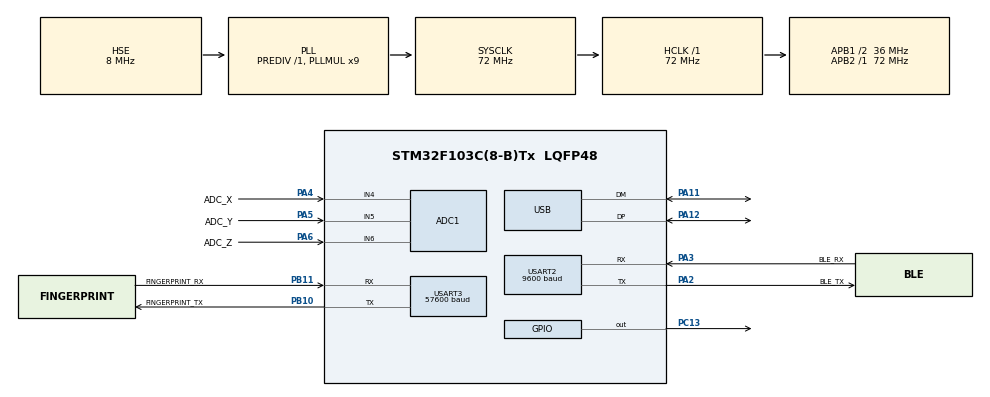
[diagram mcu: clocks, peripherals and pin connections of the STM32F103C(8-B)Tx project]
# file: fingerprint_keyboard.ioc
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ADC1.Channel-0\#ChannelRegularConversion=ADC_CHANNEL_4
ADC1.Channel-1\#ChannelRegularConversion=ADC_CHANNEL_5
ADC1.Channel-2\#ChannelRegularConversion=ADC_CHANNEL_6
ADC1.ContinuousConvMode=ENABLE
ADC1.NbrOfConversion=3
ADC1.NbrOfConversionFlag=1
ADC1.Rank-0\#ChannelRegularConversion=1
ADC1.Rank-1\#ChannelRegularConversion=2
ADC1.Rank-2\#ChannelRegularConversion=3
ADC1.SamplingTime-0\#ChannelRegularConversion=ADC_SAMPLETIME_55CYCLES_5
ADC1.SamplingTime-1\#ChannelRegularConversion=ADC_SAMPLETIME_55CYCLES_5
ADC1.SamplingTime-2\#ChannelRegularConversion=ADC_SAMPLETIME_55CYCLES_5
ADC1.master=1
Dma.ADC1.1.Direction=DMA_PERIPH_TO_MEMORY
Dma.ADC1.1.Instance=DMA1_Channel1
Dma.ADC1.1.MemDataAlignment=DMA_MDATAALIGN_WORD
Dma.ADC1.1.MemInc=DMA_MINC_ENABLE
Dma.ADC1.1.Mode=DMA_CIRCULAR
Dma.ADC1.1.PeriphDataAlignment=DMA_PDATAALIGN_WORD
Dma.ADC1.1.PeriphInc=DMA_PINC_DISABLE
Dma.ADC1.1.Priority=DMA_PRIORITY_MEDIUM
Dma.Request0=USART2_RX
Dma.Request1=ADC1
Dma.USART2_RX.0.Direction=DMA_PERIPH_TO_MEMORY
Dma.USART2_RX.0.Instance=DMA1_Channel6
Dma.USART2_RX.0.MemDataAlignment=DMA_MDATAALIGN_BYTE
Dma.USART2_RX.0.MemInc=DMA_MINC_ENABLE
Dma.USART2_RX.0.Mode=DMA_NORMAL
Dma.USART2_RX.0.PeriphDataAlignment=DMA_PDATAALIGN_BYTE
Dma.USART2_RX.0.PeriphInc=DMA_PINC_DISABLE
Dma.USART2_RX.0.Priority=DMA_PRIORITY_LOW
FREERTOS.Tasks01=defaultTask,24,128,StartDefaultTask,Default,NULL,Dynamic,NULL,NULL;commTask,24,128,StartCommTask,Default,NULL,Dynamic,NULL,NULL;readerTask,24,128,StartReaderTask,Default,NULL,Dynamic,NULL,NULL;sensorTask,24,128,StartSensorTask,Default,NULL,Dynamic,NULL,NULL
FREERTOS.configUSE_NEWLIB_REENTRANT=1
Mcu.Family=STM32F1
Mcu.Name=STM32F103C(8-B)Tx
Mcu.Package=LQFP48
NVIC.DMA1_Channel1_IRQn=true\:5\:0\:false\:false\:true\:true\:false\:true\:true
NVIC.DMA1_Channel6_IRQn=true\:5\:0\:false\:false\:true\:true\:false\:true\:true
NVIC.PriorityGroup=NVIC_PRIORITYGROUP_4
NVIC.TIM1_UP_IRQn=true\:15\:0\:false\:false\:true\:false\:false\:true\:true
NVIC.TimeBase=TIM1_UP_IRQn
NVIC.TimeBaseIP=TIM1
NVIC.USART2_IRQn=true\:5\:0\:false\:false\:true\:true\:true\:true\:true
NVIC.USART3_IRQn=true\:5\:0\:false\:false\:true\:true\:true\:true\:true
NVIC.USB_LP_CAN1_RX0_IRQn=true\:5\:0\:false\:false\:true\:true\:false\:true\:true
PA11.Mode=Device
PA11.Signal=USB_DM
PA12.Mode=Device
PA12.Signal=USB_DP
PA13.Mode=Serial_Wire
PA13.Signal=SYS_JTMS-SWDIO
PA14.Mode=Serial_Wire
PA14.Signal=SYS_JTCK-SWCLK
PA2.GPIO_Label=BLE_TX
PA2.Mode=Asynchronous
PA2.Signal=USART2_TX
PA3.GPIO_Label=BLE_RX
PA3.Mode=Asynchronous
PA3.Signal=USART2_RX
PA4.GPIO_Label=ADC_X
PA4.Signal=ADCx_IN4
PA5.GPIO_Label=ADC_Y
PA5.Signal=ADCx_IN5
PA6.GPIO_Label=ADC_Z
PA6.Signal=ADCx_IN6
PB10.GPIO_Label=FINGERPRINT_TX
PB10.Mode=Asynchronous
PB10.Signal=USART3_TX
PB11.GPIO_Label=FINGERPRINT_RX
PB11.Mode=Asynchronous
PB11.Signal=USART3_RX
PC13-TAMPER-RTC.Signal=GPIO_Output
PD0-OSC_IN.Mode=HSE-External-Oscillator
PD0-OSC_IN.Signal=RCC_OSC_IN
PD1-OSC_OUT.Mode=HSE-External-Oscillator
PD1-OSC_OUT.Signal=RCC_OSC_OUT
ProjectManager.HeapSize=0x200
ProjectManager.StackSize=0x400
ProjectManager.TargetToolchain=STM32CubeIDE
RCC.ADCPresc=RCC_ADCPCLK2_DIV6
RCC.AHBFreq_Value=72000000
RCC.APB1CLKDivider=RCC_HCLK_DIV2
RCC.APB1Freq_Value=36000000
RCC.APB1TimFreq_Value=72000000
RCC.APB2Freq_Value=72000000
RCC.APB2TimFreq_Value=72000000
RCC.HCLKFreq_Value=72000000
RCC.PLLMUL=RCC_PLL_MUL9
RCC.PLLSourceVirtual=RCC_PLLSOURCE_HSE
RCC.SYSCLKFreq_VALUE=72000000
RCC.SYSCLKSource=RCC_SYSCLKSOURCE_PLLCLK
RCC.USBFreq_Value=48000000
RCC.USBPrescaler=RCC_USBCLKSOURCE_PLL_DIV1_5
SH.ADCx_IN4.0=ADC1_IN4,IN4
SH.ADCx_IN5.0=ADC1_IN5,IN5
SH.ADCx_IN6.0=ADC1_IN6,IN6
USART2.BaudRate=9600
USART2.VirtualMode=VM_ASYNC
USART3.BaudRate=57600
USART3.VirtualMode=VM_ASYNC
USB_DEVICE.CLASS_NAME_FS=HID
USB_DEVICE.VirtualMode=Hid
USB_DEVICE.VirtualModeFS=Hid_FS
VP_FREERTOS_VS_CMSIS_V2.Mode=CMSIS_V2
VP_SYS_VS_tim1.Mode=TIM1
VP_USB_DEVICE_VS_USB_DEVICE_HID_FS.Mode=HID_FS
board=custom

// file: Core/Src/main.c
/* USER CODE BEGIN Header */
/**
  ******************************************************************************
  * @file           : main.c
  * @brief          : Main program body
  ******************************************************************************
  * @attention
  *
  * Copyright (c) 2025 STMicroelectronics.
  * All rights reserved.
  *
  * This software is licensed under terms that can be found in the LICENSE file
  * in the root directory of this software component.
  * If no LICENSE file comes with this software, it is provided AS-IS.
  *
  ******************************************************************************
  */
/* USER CODE END Header */
#include "main.h"
#include "cmsis_os.h"
#include "usb_device.h"

/* USER CODE BEGIN Includes */
#include "stm32f1xx_hal.h"
#include "usbd_hid.h"
#include <stdbool.h>
#include <string.h>
#include <stdio.h>
#include <stdint.h>
#include <math.h>
#include "fingerprint_lib.h"
#include "aes.h"
/* USER CODE END Includes */

/* USER CODE BEGIN PD */
#define RX_BUFFER_SIZE 64
#define TX_BUFFER_SIZE 64

#define FLASH_USER_START_ADDR  ((uint32_t)0x0801FC00)

//#define MAX_PWD_SIZE 48
//#define BLOCK_SIZE 8
//#define NUM_ROUNDS 32

#define ADC_MAX         4095.0f
#define V_REF           3.3f
#define ZERO_G_VOLTAGE  1.65f
#define SENSITIVITY     0.30f      // V/g for ADXL335
#define G_TO_MS2        9.80665f

//#define FLASH_PAGE_SIZE        ((uint16_t)0x400)   // 1KB on STM32F103
#define MAX_PWD_SIZE           64                  // adjust as needed
/* USER CODE END PD */

ADC_HandleTypeDef hadc1;
DMA_HandleTypeDef hdma_adc1;

UART_HandleTypeDef huart2;
UART_HandleTypeDef huart3;
DMA_HandleTypeDef hdma_usart2_rx;

/* Definitions for defaultTask */
osThreadId_t defaultTaskHandle;
const osThreadAttr_t defaultTask_attributes = {
  .name = "defaultTask",
  .stack_size = 128 * 4,
  .priority = (osPriority_t) osPriorityNormal,
};
/* Definitions for commTask */
osThreadId_t commTaskHandle;
const osThreadAttr_t commTask_attributes = {
  .name = "commTask",
  .stack_size = 128 * 4,
  .priority = (osPriority_t) osPriorityNormal,
};
/* Definitions for readerTask */
osThreadId_t readerTaskHandle;
const osThreadAttr_t readerTask_attributes = {
  .name = "readerTask",
  .stack_size = 128 * 4,
  .priority = (osPriority_t) osPriorityNormal,
};
/* Definitions for sensorTask */
osThreadId_t sensorTaskHandle;
const osThreadAttr_t sensorTask_attributes = {
  .name = "sensorTask",
  .stack_size = 128 * 4,
  .priority = (osPriority_t) osPriorityNormal,
};
/* USER CODE BEGIN PV */
uint8_t rxBuffer[RX_BUFFER_SIZE];
uint8_t txBuffer[TX_BUFFER_SIZE];

volatile uint16_t rxLen = 0;

char storedPassword[MAX_PWD_SIZE];

volatile bool keyboardFlag = false;
volatile bool enrollFlag = false;
volatile bool saveFlag = false;

extern USBD_HandleTypeDef hUsbDeviceFS;

static volatile uint32_t ADC_Buf[3];
static volatile uint32_t ADC_Values[3];
static float v_x = 0.0;
static float v_y = 0.0;
static float v_z = 0.0;
static float a_x_g = 0.0;
static float a_y_g = 0.0;
static float a_z_g = 0.0;
static float a_x = 0.0;
static float a_y = 0.0;
static float a_z = 0.0;
static float a_mag = 0.0;

static volatile uint32_t acc_timestamp = 0;

/* USER CODE END PV */

void SystemClock_Config(void);
static void MX_GPIO_Init(void);
static void MX_DMA_Init(void);
static void MX_USART2_UART_Init(void);
static void MX_USART3_UART_Init(void);
static void MX_ADC1_Init(void);
void StartDefaultTask(void *argument);
void StartCommTask(void *argument);
void StartReaderTask(void *argument);
void StartSensorTask(void *argument);

/* USER CODE BEGIN 0 */
void HAL_ADC_ConvCpltCallback(ADC_HandleTypeDef* hadc){

  if(hadc->Instance==ADC1){
    ADC_Values[0] = ADC_Buf[0];
    ADC_Values[1] = ADC_Buf[1];
    ADC_Values[2] = ADC_Buf[2];
  }
}
/* USER CODE END 0 */

int main(void)
{

  /* MCU Configuration--------------------------------------------------------*/

  /* Reset of all peripherals, Initializes the Flash interface and the Systick. */
  HAL_Init();

  /* Configure the system clock */
  SystemClock_Config();

  /* Initialize all configured peripherals */
  MX_GPIO_Init();
  MX_DMA_Init();
  MX_USART2_UART_Init();
  MX_USART3_UART_Init();
  MX_ADC1_Init();
  /* USER CODE BEGIN 2 */
  HAL_UART_Receive_DMA(&huart2, rxBuffer, RX_BUFFER_SIZE);
  __HAL_UART_ENABLE_IT(&huart2, UART_IT_IDLE);
  /* USER CODE END 2 */

  /* Init scheduler */
  osKernelInitialize();

  /* Create the thread(s) */
  /* creation of defaultTask */
  defaultTaskHandle = osThreadNew(StartDefaultTask, NULL, &defaultTask_attributes);

  /* creation of commTask */
  commTaskHandle = osThreadNew(StartCommTask, NULL, &commTask_attributes);

  /* creation of readerTask */
  readerTaskHandle = osThreadNew(StartReaderTask, NULL, &readerTask_attributes);

  /* creation of sensorTask */
  sensorTaskHandle = osThreadNew(StartSensorTask, NULL, &sensorTask_attributes);

  /* Start scheduler */
  osKernelStart();

  /* We should never get here as control is now taken by the scheduler */

  /* Infinite loop */
  while (1)
  {

  }
}

void SystemClock_Config(void)
{
  RCC_OscInitTypeDef RCC_OscInitStruct = {0};
  RCC_ClkInitTypeDef RCC_ClkInitStruct = {0};
  RCC_PeriphCLKInitTypeDef PeriphClkInit = {0};

  /** Initializes the RCC Oscillators according to the specified parameters
  * in the RCC_OscInitTypeDef structure.
  */
  RCC_OscInitStruct.OscillatorType = RCC_OSCILLATORTYPE_HSE;
  RCC_OscInitStruct.HSEState = RCC_HSE_ON;
  RCC_OscInitStruct.HSEPredivValue = RCC_HSE_PREDIV_DIV1;
  RCC_OscInitStruct.HSIState = RCC_HSI_ON;
  RCC_OscInitStruct.PLL.PLLState = RCC_PLL_ON;
  RCC_OscInitStruct.PLL.PLLSource = RCC_PLLSOURCE_HSE;
  RCC_OscInitStruct.PLL.PLLMUL = RCC_PLL_MUL9;
  if (HAL_RCC_OscConfig(&RCC_OscInitStruct) != HAL_OK)
  {
    Error_Handler();
  }

  /** Initializes the CPU, AHB and APB buses clocks
  */
  RCC_ClkInitStruct.ClockType = RCC_CLOCKTYPE_HCLK|RCC_CLOCKTYPE_SYSCLK
                              |RCC_CLOCKTYPE_PCLK1|RCC_CLOCKTYPE_PCLK2;
  RCC_ClkInitStruct.SYSCLKSource = RCC_SYSCLKSOURCE_PLLCLK;
  RCC_ClkInitStruct.AHBCLKDivider = RCC_SYSCLK_DIV1;
  RCC_ClkInitStruct.APB1CLKDivider = RCC_HCLK_DIV2;
  RCC_ClkInitStruct.APB2CLKDivider = RCC_HCLK_DIV1;

  if (HAL_RCC_ClockConfig(&RCC_ClkInitStruct, FLASH_LATENCY_2) != HAL_OK)
  {
    Error_Handler();
  }
  PeriphClkInit.PeriphClockSelection = RCC_PERIPHCLK_ADC|RCC_PERIPHCLK_USB;
  PeriphClkInit.AdcClockSelection = RCC_ADCPCLK2_DIV6;
  PeriphClkInit.UsbClockSelection = RCC_USBCLKSOURCE_PLL_DIV1_5;
  if (HAL_RCCEx_PeriphCLKConfig(&PeriphClkInit) != HAL_OK)
  {
    Error_Handler();
  }
}

static void MX_ADC1_Init(void)
{

  ADC_ChannelConfTypeDef sConfig = {0};

  /** Common config
  */
  hadc1.Instance = ADC1;
  hadc1.Init.ScanConvMode = ADC_SCAN_ENABLE;
  hadc1.Init.ContinuousConvMode = ENABLE;
  hadc1.Init.DiscontinuousConvMode = DISABLE;
  hadc1.Init.ExternalTrigConv = ADC_SOFTWARE_START;
  hadc1.Init.DataAlign = ADC_DATAALIGN_RIGHT;
  hadc1.Init.NbrOfConversion = 3;
  if (HAL_ADC_Init(&hadc1) != HAL_OK)
  {
    Error_Handler();
  }

  /** Configure Regular Channel
  */
  sConfig.Channel = ADC_CHANNEL_4;
  sConfig.Rank = ADC_REGULAR_RANK_1;
  sConfig.SamplingTime = ADC_SAMPLETIME_55CYCLES_5;
  if (HAL_ADC_ConfigChannel(&hadc1, &sConfig) != HAL_OK)
  {
    Error_Handler();
  }

  /** Configure Regular Channel
  */
  sConfig.Channel = ADC_CHANNEL_5;
  sConfig.Rank = ADC_REGULAR_RANK_2;
  if (HAL_ADC_ConfigChannel(&hadc1, &sConfig) != HAL_OK)
  {
    Error_Handler();
  }

  /** Configure Regular Channel
  */
  sConfig.Channel = ADC_CHANNEL_6;
  sConfig.Rank = ADC_REGULAR_RANK_3;
  if (HAL_ADC_ConfigChannel(&hadc1, &sConfig) != HAL_OK)
  {
    Error_Handler();
  }

}

static void MX_USART2_UART_Init(void)
{

  huart2.Instance = USART2;
  huart2.Init.BaudRate = 9600;
  huart2.Init.WordLength = UART_WORDLENGTH_8B;
  huart2.Init.StopBits = UART_STOPBITS_1;
  huart2.Init.Parity = UART_PARITY_NONE;
  huart2.Init.Mode = UART_MODE_TX_RX;
  huart2.Init.HwFlowCtl = UART_HWCONTROL_NONE;
  huart2.Init.OverSampling = UART_OVERSAMPLING_16;
  if (HAL_UART_Init(&huart2) != HAL_OK)
  {
    Error_Handler();
  }

}

static void MX_USART3_UART_Init(void)
{

  huart3.Instance = USART3;
  huart3.Init.BaudRate = 57600;
  huart3.Init.WordLength = UART_WORDLENGTH_8B;
  huart3.Init.StopBits = UART_STOPBITS_1;
  huart3.Init.Parity = UART_PARITY_NONE;
  huart3.Init.Mode = UART_MODE_TX_RX;
  huart3.Init.HwFlowCtl = UART_HWCONTROL_NONE;
  huart3.Init.OverSampling = UART_OVERSAMPLING_16;
  if (HAL_UART_Init(&huart3) != HAL_OK)
  {
    Error_Handler();
  }

}

static void MX_DMA_Init(void)
{

  /* DMA controller clock enable */
  __HAL_RCC_DMA1_CLK_ENABLE();

  /* DMA interrupt init */
  /* DMA1_Channel1_IRQn interrupt configuration */
  HAL_NVIC_SetPriority(DMA1_Channel1_IRQn, 5, 0);
  HAL_NVIC_EnableIRQ(DMA1_Channel1_IRQn);
  /* DMA1_Channel6_IRQn interrupt configuration */
  HAL_NVIC_SetPriority(DMA1_Channel6_IRQn, 5, 0);
  HAL_NVIC_EnableIRQ(DMA1_Channel6_IRQn);

}

static void MX_GPIO_Init(void)
{
  GPIO_InitTypeDef GPIO_InitStruct = {0};

  /* GPIO Ports Clock Enable */
  __HAL_RCC_GPIOC_CLK_ENABLE();
  __HAL_RCC_GPIOD_CLK_ENABLE();
  __HAL_RCC_GPIOA_CLK_ENABLE();
  __HAL_RCC_GPIOB_CLK_ENABLE();

  /*Configure GPIO pin Output Level */
  HAL_GPIO_WritePin(GPIOC, GPIO_PIN_13, GPIO_PIN_RESET);

  /*Configure GPIO pin : PC13 */
  GPIO_InitStruct.Pin = GPIO_PIN_13;
  GPIO_InitStruct.Mode = GPIO_MODE_OUTPUT_PP;
  GPIO_InitStruct.Pull = GPIO_NOPULL;
  GPIO_InitStruct.Speed = GPIO_SPEED_FREQ_LOW;
  HAL_GPIO_Init(GPIOC, &GPIO_InitStruct);

}

/* USER CODE BEGIN 4 */

void build_response(char *dst, const char *prefix, const char *payload, size_t max_payload_len) {
    int i = 0;

    // Copy prefix (e.g., "OK:" or "ERR:")
    while (prefix[i] != '\0') {
        dst[i] = prefix[i];
        i++;
    }

    // Copy up to max_payload_len characters from payload
    for (size_t j = 0; j < max_payload_len && payload[j] != '\0'; j++) {
        dst[i++] = payload[j];
    }

    // Add newline and null terminator
    dst[i++] = '\n';
    dst[i] = '\0';
}

void xtea_encrypt(uint32_t v[2], const uint32_t key[4], unsigned int rounds) {
    uint32_t v0 = v[0], v1 = v[1], sum = 0, delta = 0x9E3779B9;
    for (unsigned int i = 0; i < rounds; i++) {
        v0 += (((v1 << 4) ^ (v1 >> 5)) + v1) ^ (sum + key[sum & 3]);
        sum += delta;
        v1 += (((v0 << 4) ^ (v0 >> 5)) + v0) ^ (sum + key[(sum >> 11) & 3]);
    }
    v[0] = v0;
    v[1] = v1;
}

void xtea_decrypt(uint32_t v[2], const uint32_t key[4], unsigned int rounds) {
    uint32_t v0 = v[0], v1 = v[1];
    uint32_t sum = 0x9E3779B9 * rounds, delta = 0x9E3779B9;
    for (unsigned int i = 0; i < rounds; i++) {
        v1 -= (((v0 << 4) ^ (v0 >> 5)) + v0) ^ (sum + key[(sum >> 11) & 3]);
        sum -= delta;
        v0 -= (((v1 << 4) ^ (v1 >> 5)) + v1) ^ (sum + key[sum & 3]);
    }
    v[0] = v0;
    v[1] = v1;
}

void deriveKeyFromUID(uint8_t *key)
{
    uint8_t *uid = (uint8_t *)0x1FFFF7E8; // STM32F103 UID base address
    for (int i = 0; i < 12; i++)
    {
        key[i] = uid[i] ^ 0xA5; // basic XOR obfuscation
    }
    key[12] = 0xDE;
    key[13] = 0xAD;
    key[14] = 0xBE;
    key[15] = 0xEF;
}

void generateIV(uint8_t *iv)
{
    uint32_t seed = HAL_GetTick(); // not cryptographically secure, but okay for basic protection
    srand(seed);
    for (int i = 0; i < 16; i++)
    {
        iv[i] = rand() & 0xFF;
    }
}

/*
void writePasswordToFlash(const char *password)
{
    HAL_FLASH_Unlock();

    // Erase the page first
    FLASH_EraseInitTypeDef eraseInit;
    uint32_t pageError = 0;

    eraseInit.TypeErase = FLASH_TYPEERASE_PAGES;
    eraseInit.PageAddress = FLASH_USER_START_ADDR;
    eraseInit.NbPages = 1;

    if (HAL_FLASHEx_Erase(&eraseInit, &pageError) != HAL_OK)
    {
        // Handle erase error here
        HAL_FLASH_Lock();
        return;
    }

    // Write the password including null terminator
    uint32_t addr = FLASH_USER_START_ADDR;
    const uint8_t *data = (const uint8_t *)password;
    size_t totalBytes = strlen(password) + 1; // +1 for '\0'

    for (size_t i = 0; i < totalBytes; i += 2)
    {
        uint16_t halfWord = 0xFFFF; // default padding

        halfWord = data[i];
        if ((i + 1) < totalBytes)
        {
            halfWord |= (data[i + 1] << 8);
        }

        if (HAL_FLASH_Program(FLASH_TYPEPROGRAM_HALFWORD, addr, halfWord) != HAL_OK)
        {
            // Handle error
            break;
        }

        addr += 2;
    }

    HAL_FLASH_Lock();
}
*/
void writePasswordToFlash(const char *password)
{
    HAL_FLASH_Unlock();

    // Erase the flash page
    FLASH_EraseInitTypeDef eraseInit;
    uint32_t pageError = 0;
    eraseInit.TypeErase = FLASH_TYPEERASE_PAGES;
    eraseInit.PageAddress = FLASH_USER_START_ADDR;
    eraseInit.NbPages = 1;
    if (HAL_FLASHEx_Erase(&eraseInit, &pageError) != HAL_OK)
    {
        HAL_FLASH_Lock();
        return;
    }

    // Prepare AES encryption
    struct AES_ctx ctx;
    uint8_t key[16];
    deriveKeyFromUID(key);

    uint8_t iv[16];
    generateIV(iv);

    // Pad the password to 16-byte block (PKCS#7)
    uint8_t buffer[64] = {0}; // MAX password size + padding
    size_t len = strlen(password);
    size_t padded_len = ((len / 16) + 1) * 16;
    uint8_t pad = padded_len - len;

    memcpy(buffer, password, len);
    for (size_t i = len; i < padded_len; i++) buffer[i] = pad;

    AES_init_ctx_iv(&ctx, key, iv);
    AES_CBC_encrypt_buffer(&ctx, buffer, padded_len);

    // Write to flash: [ IV (16B) ][ LEN (2B) ][ Encrypted Data ]
    uint32_t addr = FLASH_USER_START_ADDR;

    // Write IV
    for (int i = 0; i < 16; i += 2)
    {
        uint16_t halfWord = iv[i] | (iv[i + 1] << 8);
        HAL_FLASH_Program(FLASH_TYPEPROGRAM_HALFWORD, addr, halfWord);
        addr += 2;
    }

    // Write length (uint16_t)
    HAL_FLASH_Program(FLASH_TYPEPROGRAM_HALFWORD, addr, (uint16_t)padded_len);
    addr += 2;

    // Write encrypted buffer
    for (int i = 0; i < padded_len; i += 2)
    {
        uint16_t halfWord = buffer[i] | (buffer[i + 1] << 8);
        HAL_FLASH_Program(FLASH_TYPEPROGRAM_HALFWORD, addr, halfWord);
        addr += 2;
    }

    HAL_FLASH_Lock();
}

/*
void readPasswordFromFlash(char *password)
{
    const uint8_t *data = (const uint8_t *)FLASH_USER_START_ADDR;
    for (uint32_t i = 0; i < MAX_PWD_SIZE; i++)
    {
        password[i] = data[i];
        if (data[i] == '\0')
        {
            break;
        }
    }
    password[MAX_PWD_SIZE - 1] = '\0'; // Safety null-termination
}
*/
void readPasswordFromFlash(char *outPassword)
{
    uint8_t key[16], iv[16], encrypted[64] = {0};
    deriveKeyFromUID(key);

    const uint8_t *flash_ptr = (uint8_t *)FLASH_USER_START_ADDR;

    // Read IV
    memcpy(iv, flash_ptr, 16);
    flash_ptr += 16;

    // Read length (2 bytes)
    uint16_t padded_len = flash_ptr[0] | (flash_ptr[1] << 8);
    flash_ptr += 2;

    if (padded_len > sizeof(encrypted)) padded_len = sizeof(encrypted);  // safety

    // Read encrypted data
    memcpy(encrypted, flash_ptr, padded_len);

    // Decrypt
    struct AES_ctx ctx;
    AES_init_ctx_iv(&ctx, key, iv);
    AES_CBC_decrypt_buffer(&ctx, encrypted, padded_len);

    // Remove PKCS#7 padding
    uint8_t pad = encrypted[padded_len - 1];
    if (pad <= 16)
    {
        encrypted[padded_len - pad] = '\0';
    }
    else
    {
        encrypted[padded_len - 1] = '\0';
    }

    strncpy(outPassword, (char *)encrypted, MAX_PWD_SIZE - 1);
    outPassword[MAX_PWD_SIZE - 1] = '\0';
}

void calculate_acceleration(void) {

    // Convert ADC to voltage
    v_x = (ADC_Values[0] / ADC_MAX) * V_REF;
    v_y = (ADC_Values[1] / ADC_MAX) * V_REF;
    v_z = (ADC_Values[2] / ADC_MAX) * V_REF;

    // Convert voltage to acceleration in g
    a_x_g = (v_x - ZERO_G_VOLTAGE) / SENSITIVITY;
    a_y_g = (v_y - ZERO_G_VOLTAGE) / SENSITIVITY;
    a_z_g = (v_z - ZERO_G_VOLTAGE) / SENSITIVITY;

    // Convert g to m/s²
    a_x = a_x_g * G_TO_MS2;
    a_y = a_y_g * G_TO_MS2;
    a_z = a_z_g * G_TO_MS2;

    // Vector magnitude
    a_mag = sqrtf(a_x * a_x + a_y * a_y + a_z * a_z);

    // Print or use the values as needed
    //printf("Accel (m/s²): X=%.2f Y=%.2f Z=%.2f | |A|=%.2f\n", a_x, a_y, a_z, a_mag);
}

/* USER CODE END 4 */

void StartDefaultTask(void *argument)
{
  /* init code for USB_DEVICE */
  MX_USB_DEVICE_Init();
  /* USER CODE BEGIN 5 */

  // source: https://notes.iopush.net/blog/2016/stm32-custom-usb-hid-step-by-step-2/

  // HID Keyboard
  struct keyboardHID_t {
      uint8_t id;
      uint8_t modifiers;
      uint8_t key1;
      uint8_t key2;
      uint8_t key3;
  };
  struct keyboardHID_t keyboardHID;
  keyboardHID.id = 1;
  keyboardHID.modifiers = 0;
  keyboardHID.key1 = 0;
  keyboardHID.key2 = 0;
  keyboardHID.key3 = 0;

  /* Infinite loop */
  for(;;)
  {
		osDelay(500);
		HAL_GPIO_TogglePin(GPIOC, GPIO_PIN_13);

        if (keyboardFlag)
        {
            // Type the stored password
            size_t pwdLen = strlen(storedPassword);

            for (size_t i = 0; i < pwdLen; i++)
            {
                char c = storedPassword[i];
                uint8_t keycode = 0;
                uint8_t modifier = 0;

                // Translate ASCII to HID keycode
                if (c >= 'a' && c <= 'z')
                {
                    keycode = (c - 'a') + 0x04; // HID codes for 'a' to 'z'
                }
                else if (c >= 'A' && c <= 'Z')
                {
                    keycode = (c - 'A') + 0x04;
                    modifier = 0x02; // Left Shift
                }
                else if (c >= '0' && c <= '9')
                {
                    keycode = (c == '0') ? 0x27 : (c - '1') + 0x1E;
                }
                else if (c == '-')
                {
                    keycode = 0x38;
                }
                else if (c == '\0')
                {
                    break;
                }
                else
                {
                    // Handle other characters as needed
                    continue;
                }

                keyboardHID.modifiers = modifier;
                keyboardHID.key1 = keycode;
                USBD_HID_SendReport(&hUsbDeviceFS, &keyboardHID, sizeof(struct keyboardHID_t));
                HAL_Delay(30);

                // Release key
                keyboardHID.modifiers = 0;
                keyboardHID.key1 = 0;
                USBD_HID_SendReport(&hUsbDeviceFS, &keyboardHID, sizeof(struct keyboardHID_t));
                HAL_Delay(30);
            }

            // After typing the password
            keyboardHID.modifiers = 0;
            keyboardHID.key1 = 0x28;  // HID keycode for Enter
            USBD_HID_SendReport(&hUsbDeviceFS, &keyboardHID, sizeof(struct keyboardHID_t));
            HAL_Delay(30);

            // Release Enter
            keyboardHID.key1 = 0;
            USBD_HID_SendReport(&hUsbDeviceFS, &keyboardHID, sizeof(struct keyboardHID_t));
            HAL_Delay(30);

            keyboardFlag = false;
        }

  }
  /* USER CODE END 5 */
}

void StartCommTask(void *argument)
{
  /* USER CODE BEGIN StartCommTask */
  readPasswordFromFlash(storedPassword);

  /* Infinite loop */
  for(;;)
  {
      // Wait for notification from ISR
      ulTaskNotifyTake(pdTRUE, portMAX_DELAY);

      // Process received data
      if(rxLen > 0)
      {
          // Look for '\n'
          char* newlinePos = memchr(rxBuffer, '\n', rxLen);
          if(newlinePos)
          {
              size_t msgLen = newlinePos - (char*)rxBuffer;
              if(msgLen >= RX_BUFFER_SIZE) msgLen = RX_BUFFER_SIZE - 1;

              // Null-terminate
              rxBuffer[msgLen] = '\0';

              // Build response
              // Check for prefix "PWD:"
              if (strncmp((char*)rxBuffer, "PWD:", 4) == 0)
              {
                  char *pwdStart = (char*)rxBuffer + 4;
                  snprintf((char*)txBuffer, TX_BUFFER_SIZE, "OK:%.50s\n", rxBuffer+4);
                  //build_response(txBuffer, "OK:", pwdStart, 50);
                  saveFlag = true;
                  osDelay(500);
                  writePasswordToFlash(pwdStart);
                  strncpy(storedPassword, pwdStart, MAX_PWD_SIZE - 1);
                  storedPassword[MAX_PWD_SIZE - 1] = '\0';
                  osDelay(500);
                  saveFlag = false;
              }
              /*
              else if (strncmp((char*)rxBuffer, "READ", 4) == 0)
              {
                  snprintf((char*)txBuffer, TX_BUFFER_SIZE, "READ:%.50s\n", storedPassword);
            	  //build_response(txBuffer, "READ:", storedPassword, 50);
              }
              else if (strncmp((char*)rxBuffer, "SEND", 4) == 0)
              {
            	  keyboardFlag = true;
                  snprintf((char*)txBuffer, TX_BUFFER_SIZE, "SEND:%.50s\n", storedPassword);
                  //build_response(txBuffer, "SEND:", storedPassword, 50);
              }
              */
              else if (strncmp((char*)rxBuffer, "ENROLL:", 7) == 0)
              {
                  char ch = rxBuffer[7];

                  // Check if it's a digit between '1' and '9'
                  if (ch >= '1' && ch <= '9')
                  {
                      uint8_t id = ch - '0';

                      snprintf(txBuffer, TX_BUFFER_SIZE, "ENROLL FINGER:%d\n", id);
                      HAL_UART_Transmit(&huart2, txBuffer, strlen((char*)txBuffer), HAL_MAX_DELAY);
                      enrollFlag = true;
                      osDelay(500);
                      enrollFinger(id);  // start enrollment
                      snprintf(txBuffer, TX_BUFFER_SIZE, "ENROLL FINISHED:%d\n", id);
                      osDelay(500);
                      enrollFlag = false;
                  }
                  else
                  {
                      snprintf(txBuffer, TX_BUFFER_SIZE, "ENROLL FINGER: ERROR\n");
                  }
              }
              else
              {
                  snprintf((char*)txBuffer, TX_BUFFER_SIZE, "ERR:%.50s\n", rxBuffer);
                  //build_response(txBuffer, "ERR:", rxBuffer, 50);
              }

              // Send response
              HAL_UART_Transmit(&huart2, txBuffer, strlen((char*)txBuffer), HAL_MAX_DELAY);
          }
      }

      // Reset buffer length
      rxLen = 0;
  }
  /* USER CODE END StartCommTask */
}

void StartReaderTask(void *argument)
{
  /* USER CODE BEGIN StartReaderTask */
	//char idStr[10];
	uint8_t error03Count = 0;
	/* Infinite loop */
    for (;;)
    {
    	if (HAL_GetTick() - acc_timestamp > 30000) {
    		osDelay(200);
    		continue;
    	}
    	if (enrollFlag || saveFlag)
    	{
    		osDelay(200);
    		continue;
    	}
    	if (keyboardFlag)
    	{
    		osDelay(200);
    		continue;
    	}
        uint8_t p = getImage();
        if (p == FINGERPRINT_NOFINGER)
        {
            osDelay(200);
            continue;
        }
        if (p != FINGERPRINT_OK)
        {
            snprintf(txBuffer, sizeof(txBuffer), "Image error: 0x%02X\n", p);
            //build_response(txBuffer, "Image error", ".", 50);
            HAL_UART_Transmit(&huart2, (uint8_t*)txBuffer, strlen(txBuffer), HAL_MAX_DELAY);
            osDelay(1000);

            error03Count++;
            if (error03Count >= 3)
            {
                snprintf(txBuffer, sizeof(txBuffer), "Too many image errors, resetting sensor...\n");
                //build_response(txBuffer, "Too many image errors, resetting", ".", 50);
                HAL_UART_Transmit(&huart2, (uint8_t*)txBuffer, strlen(txBuffer), HAL_MAX_DELAY);

                //resetSensor();
                error03Count = 0;
            }

            continue;
        }
        else {
        	error03Count = 0;
        }

        p = image2Tz(1);
        if (p != FINGERPRINT_OK)
        {
            snprintf(txBuffer, sizeof(txBuffer), "Image conversion error: 0x%02X\n", p);
            //build_response(txBuffer, "Image conversion error", ".", 50);
            HAL_UART_Transmit(&huart2, (uint8_t*)txBuffer, strlen(txBuffer), HAL_MAX_DELAY);
            osDelay(1000);
            continue;
        }

        uint16_t fingerID = 0;
        p = fingerFastSearch(&fingerID);
        if (p == FINGERPRINT_OK)
        {
            snprintf(txBuffer, sizeof(txBuffer), "Finger %d recognized\n", fingerID);
        	//itoa(fingerID, idStr, 10);
        	//build_response(txBuffer, "Finger recognized: ", idStr, 10);
            HAL_UART_Transmit(&huart2, (uint8_t*)txBuffer, strlen(txBuffer), HAL_MAX_DELAY);

            // Set flag to type password
            keyboardFlag = true;
            // Set accelerometer magnitude timestamp to 0 so reading turns off immediately after successful finger scanning
            acc_timestamp = 0;
        }
        else if (p == FINGERPRINT_NOMATCH)
        {
            snprintf(txBuffer, sizeof(txBuffer), "Finger not recognized\n");
            //build_response(txBuffer, "Finger not recognized", ".", 50);
            HAL_UART_Transmit(&huart2, (uint8_t*)txBuffer, strlen(txBuffer), HAL_MAX_DELAY);
            acc_timestamp = HAL_GetTick(); // misuse this timestamp to avoid going back sleeping while trying to log in
        }
        else
        {
            snprintf(txBuffer, sizeof(txBuffer), "Search error: 0x%02X\n", p);
            //build_response(txBuffer, "Search error", ".", 50);
            HAL_UART_Transmit(&huart2, (uint8_t*)txBuffer, strlen(txBuffer), HAL_MAX_DELAY);
        }

        osDelay(1000);  // Wait before next scan
    }

  /* USER CODE END StartReaderTask */
}

void StartSensorTask(void *argument)
{
  /* USER CODE BEGIN StartSensorTask */
  HAL_ADC_Start_DMA(&hadc1, (uint32_t*)ADC_Buf,3);
  /* Infinite loop */
  for(;;)
  {
	calculate_acceleration();
	if (a_mag > 20.0){
		acc_timestamp = HAL_GetTick();
	}
    osDelay(10);
  }
  /* USER CODE END StartSensorTask */
}

void HAL_TIM_PeriodElapsedCallback(TIM_HandleTypeDef *htim)
{
  if (htim->Instance == TIM1)
  {
    HAL_IncTick();
  }
}

void Error_Handler(void)
{
  __disable_irq();
  while (1)
  {
  }
}
